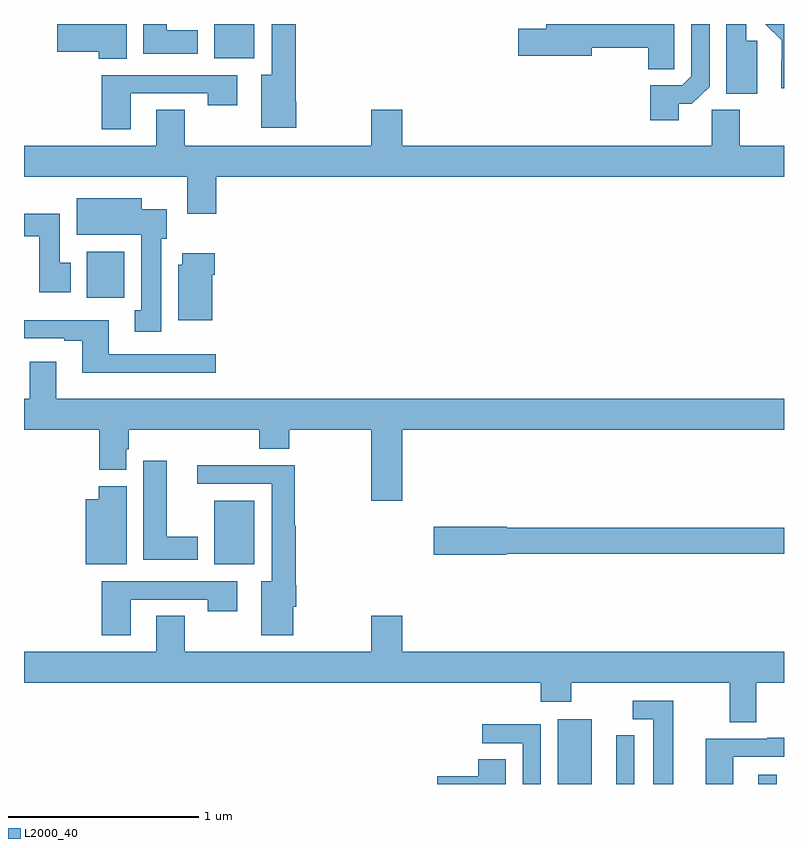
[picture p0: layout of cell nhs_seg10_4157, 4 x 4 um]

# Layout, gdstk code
import gdstk
lib = gdstk.Library(unit=1e-6, precision=1e-09)
def R(c, l, rs):  # rectangles x0, y0, x1, y1
    for r in rs: c.add(gdstk.rectangle(r[:2], r[2:], *l))
def P(c, l, *ps):  # polygons
    for p in ps: c.add(gdstk.Polygon(p, *l))
L2000_40 = (2000, 40)

nhs_seg10_4157 = lib.new_cell('nhs_seg10_4157')
R(nhs_seg10_4157, L2000_40, [(345.809,1250.5,345.988,1250.842), (346.865,1250.5,346.962,1250.548), (344,1251.656,344.212,1251.991), (343.331,1253.06,343.528,1253.302), (344,1254.32,344.212,1254.5)])
P(nhs_seg10_4157, L2000_40, [(344.434,1254.09),(344.429,1254.09),(344.429,1254.5),(344.303,1254.5),(344.303,1254.232),(344.249,1254.232),(344.249,1253.954),(344.434,1253.954)],
  [(343.54,1254.5),(343.176,1254.5),(343.176,1254.353),(343.394,1254.353),(343.394,1254.316),(343.54,1254.316)],
  [(347,1254.5),(346.902,1254.5),(346.988,1254.414),(346.988,1254.308),(346.986,1254.308),(346.986,1254.162),(347,1254.162)],
  [(346.447,1254.079),(346.515,1254.079),(346.608,1254.171),(346.608,1254.5),(346.512,1254.5),(346.512,1254.225),(346.464,1254.177),(346.295,1254.177),(346.295,1253.994),(346.447,1253.994)],
  [(346.858,1254.411),(346.801,1254.411),(346.801,1254.5),(346.697,1254.5),(346.697,1254.133),(346.858,1254.133)],
  [(343.915,1254.466),(343.75,1254.466),(343.75,1254.5),(343.628,1254.5),(343.628,1254.344),(343.915,1254.344)],
  [(346.422,1254.37),(346.423,1254.37),(346.423,1254.5),(345.749,1254.5),(345.749,1254.476),(345.6,1254.476),(345.6,1254.334),(345.988,1254.334),(345.988,1254.376),(346.285,1254.376),(346.285,1254.262),(346.422,1254.262)],
  [(343.561,1254.135),(343.966,1254.135),(343.966,1254.072),(344.122,1254.072),(344.122,1254.231),(343.409,1254.231),(343.409,1253.946),(343.561,1253.946)],
  [(344.012,1253.696),(347,1253.696),(347,1253.86),(346.767,1253.86),(346.767,1254.048),(346.62,1254.048),(346.62,1253.86),(344.992,1253.86),(344.992,1254.049),(344.828,1254.049),(344.828,1253.86),(343.845,1253.86),(343.845,1254.05),(343.697,1254.05),(343.697,1253.86),(343,1253.86),(343,1253.696),(343.859,1253.696),(343.859,1253.502),(344.012,1253.502)],
  [(343.723,1253.37),(343.75,1253.37),(343.75,1253.524),(343.621,1253.524),(343.621,1253.584),(343.277,1253.584),(343.277,1253.39),(343.616,1253.39),(343.616,1252.994),(343.583,1252.994),(343.583,1252.881),(343.723,1252.881)],
  [(343.246,1253.244),(343.189,1253.244),(343.189,1253.502),(343,1253.502),(343,1253.384),(343.079,1253.384),(343.079,1253.088),(343.246,1253.088)],
  [(343.99,1253.18),(344.003,1253.18),(344.003,1253.293),(343.832,1253.293),(343.832,1253.232),(343.811,1253.232),(343.811,1252.94),(343.99,1252.94)],
  [(344.008,1252.761),(343.447,1252.761),(343.447,1252.942),(343,1252.942),(343,1252.845),(343.211,1252.845),(343.211,1252.833),(343.307,1252.833),(343.307,1252.664),(344.008,1252.664)],
  [(344.992,1252.364),(347,1252.364),(347,1252.528),(343.171,1252.528),(343.171,1252.723),(343.031,1252.723),(343.031,1252.528),(343,1252.528),(343,1252.364),(343.397,1252.364),(343.397,1252.153),(343.537,1252.153),(343.537,1252.263),(343.55,1252.263),(343.55,1252.364),(344.237,1252.364),(344.237,1252.265),(344.397,1252.265),(344.397,1252.364),(344.828,1252.364),(344.828,1251.99),(344.992,1251.99)],
  [(343.915,1251.802),(343.75,1251.802),(343.75,1252.201),(343.628,1252.201),(343.628,1251.68),(343.915,1251.68)],
  [(344.416,1251.432),(344.434,1251.432),(344.434,1251.546),(344.429,1251.546),(344.429,1251.86),(344.424,1251.86),(344.424,1252.178),(343.911,1252.178),(343.911,1252.08),(344.303,1252.08),(344.303,1251.568),(344.249,1251.568),(344.249,1251.282),(344.416,1251.282)],
  [(343.54,1252.068),(343.394,1252.068),(343.394,1252),(343.325,1252),(343.325,1251.656),(343.54,1251.656)],
  [(345.54,1251.712),(347,1251.712),(347,1251.848),(345.54,1251.848),(345.54,1251.854),(345.156,1251.854),(345.156,1251.707),(345.54,1251.707)],
  [(343.561,1251.471),(343.966,1251.471),(343.966,1251.408),(344.122,1251.408),(344.122,1251.567),(343.409,1251.567),(343.409,1251.282),(343.561,1251.282)],
  [(346.855,1251.032),(347,1251.032),(347,1251.196),(344.992,1251.196),(344.992,1251.385),(344.828,1251.385),(344.828,1251.196),(343.845,1251.196),(343.845,1251.386),(343.697,1251.386),(343.697,1251.196),(343,1251.196),(343,1251.032),(345.719,1251.032),(345.719,1250.933),(345.879,1250.933),(345.879,1251.032),(346.715,1251.032),(346.715,1250.824),(346.855,1250.824)],
  [(346.417,1250.937),(346.203,1250.937),(346.203,1250.841),(346.313,1250.841),(346.313,1250.5),(346.417,1250.5)],
  [(345.72,1250.814),(345.411,1250.814),(345.411,1250.715),(345.624,1250.715),(345.624,1250.5),(345.72,1250.5)],
  [(346.212,1250.756),(346.116,1250.756),(346.116,1250.602),(346.118,1250.602),(346.118,1250.5),(346.212,1250.5)],
  [(346.734,1250.643),(347,1250.643),(347,1250.743),(346.913,1250.743),(346.913,1250.739),(346.589,1250.739),(346.589,1250.5),(346.734,1250.5)],
  [(345.535,1250.63),(345.392,1250.63),(345.392,1250.54),(345.174,1250.54),(345.174,1250.5),(345.535,1250.5)])

lib.write_gds('nhs_seg10_4157.gds')
